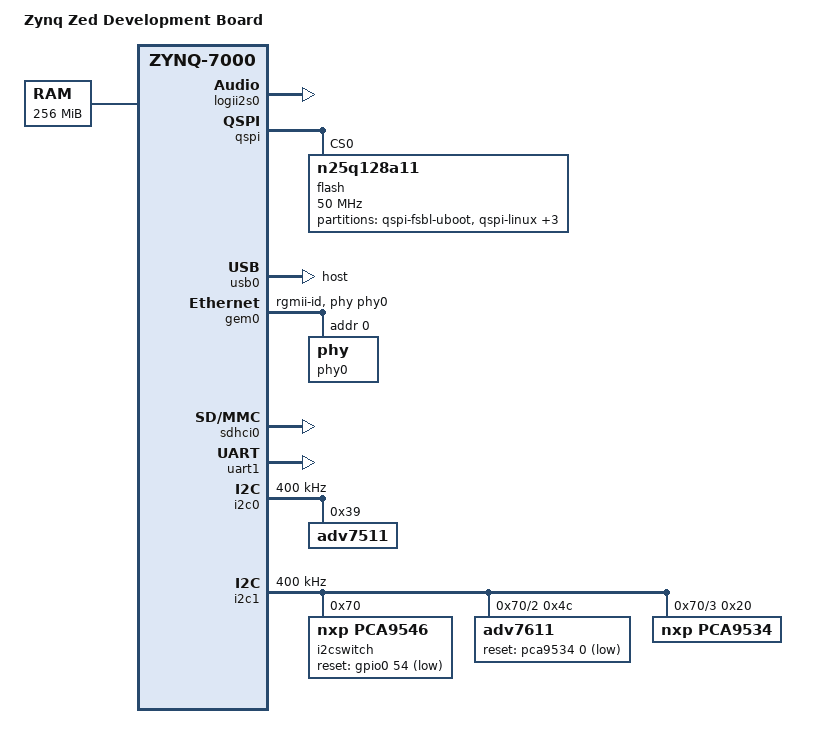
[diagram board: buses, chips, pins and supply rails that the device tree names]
/*
 *  Copyright (C) 2011 - 2014 Xilinx
 *  Copyright (C) 2012 National Instruments Corp.
 *
 * This software is licensed under the terms of the GNU General Public
 * License version 2, as published by the Free Software Foundation, and
 * may be copied, distributed, and modified under those terms.
 *
 * This program is distributed in the hope that it will be useful,
 * but WITHOUT ANY WARRANTY; without even the implied warranty of
 * MERCHANTABILITY or FITNESS FOR A PARTICULAR PURPOSE.  See the
 * GNU General Public License for more details.
 */
/dts-v1/;
/include/ "zynq-7000.dtsi"

/ {
	model = "Zynq Zed Development Board";
	compatible = "xlnx,zynq-zed", "xlnx,zynq-7000";

	aliases {
		ethernet0 = &gem0;
		serial0 = &uart1;
		spi0 = &qspi;
	};

	memory {
		device_type = "memory";
		reg = <0x0 0x10000000>;
	};

	chosen {
		bootargs = "console=ttyPS0,115200 root=/dev/ram rw ip=dhcp earlyprintk";
		linux,stdout-path = "/amba/serial@e0001000";
	};
};

&qspi {
	status = "okay";
	is-dual = <0>;
	num-cs = <1>;
	flash@0 {
		compatible = "n25q128a11";
		reg = <0x0>;
		spi-tx-bus-width = <1>;
		spi-rx-bus-width = <4>;
		spi-max-frequency = <50000000>;
		#address-cells = <1>;
		#size-cells = <1>;
		partition@qspi-fsbl-uboot {
			label = "qspi-fsbl-uboot";
			reg = <0x0 0x100000>;
		};
		partition@qspi-linux {
			label = "qspi-linux";
			reg = <0x100000 0x500000>;
		};
		partition@qspi-device-tree {
			label = "qspi-device-tree";
			reg = <0x600000 0x20000>;
		};
		partition@qspi-rootfs {
			label = "qspi-rootfs";
			reg = <0x620000 0x5E0000>;
		};
		partition@qspi-bitstream {
			label = "qspi-bitstream";
			reg = <0xC00000 0x400000>;
		};
	};
};

&usb0 {
	status = "okay";
	dr_mode = "host";
	phy_type = "ulpi";
};

&gem0 {
	status = "okay";
	phy-mode = "rgmii-id";
	phy-handle = <&phy0>;

	phy0: phy@0 {
		reg = <0>;
	};
};

&sdhci0 {
	status = "okay";
};

&uart1 {
	status = "okay";
};

&i2c0 {
	status = "okay";
	clock-frequency = <400000>;

	adv7511: adv7511@39 {
		compatible = "adv7511";
		reg = <0x39>;
		interrupts = <0 58 4>;
		interrupt-parent = <&intc>;
		dma-request = <&logicvc_0>;
		edid-addr = <0x50>;
		video-input {
			input-id = <1>;
			input-style = <2>;
			input-color-depth = <8>;
			bit-justification = <1>;
			hsync-polarity = <0>;
			vsync-polarity = <0>;
			clock-delay = <3>;
		};
		video-output {
			hdmi-mode = <0>;
			output-format = <0>;
			output-color-space = <0>;
			up-conversion = <0>;
			csc-enable = <1>;
			csc-scaling-factor = <2>;
			csc-coefficients {
				a1 = <0x0B37>;
				a2 = <0x0800>;
				a3 = <0x0000>;
				a4 = <0x1A86>;
				b1 = <0x1A49>;
				b2 = <0x0800>;
				b3 = <0x1D3F>;
				b4 = <0x0422>;
				c1 = <0x0000>;
				c2 = <0x0800>;
				c3 = <0x0E2D>;
				c4 = <0x1914>;
			};
		};
	};
};

&i2c1 {
	status = "okay";
	clock-frequency = <400000>;

	i2cswitch@70 {
		compatible = "nxp,pca9546";
		#address-cells = <1>;
		#size-cells = <0>;
		reg = <0x70>;

		reset-gpios = <&gpio0 54 1>;

		i2c@2 {
			#address-cells = <1>;
			#size-cells = <0>;
			reg = <2>;

			adv7611: hdmi-rx@4c {
				compatible = "adv7611";
				reg = <0x4c>;

				reset-gpios = <&pca9534 0 1>;
			};
		};

		i2c@3 {
			#address-cells = <1>;
			#size-cells = <0>;
			reg = <3>;

			pca9534: gpio@20 {
				compatible = "nxp,pca9534";
				reg = <0x20>;
				gpio-controller;
				#gpio-cells = <2>;
			};
		};
	};
};

/ {
	logiclk_0: clock-generator@40010000 {
		compatible = "xylon,logiclk-1.02.b";
		reg = <0x40010000 0x1000>;
		bandwidth-high;
		input-frequency = <100000000>;
		input-divide = <1>;
		input-multiply = <9>;
		input-phase = <0>;
		precise-output = <&clkout_0>;
		clkout_0: output_0 {
			#clock-cells = <0>;
			frequency = <74250000>;
			divide = <6>;
			duty = <50000>;
			phase = <0>;
		};
		clkout_1: output_1 {
			#clock-cells = <0>;
			frequency = <148500000>;
			divide = <9>;
			duty = <50000>;
			phase = <0>;
		};
		clkout_2: output_2 {
			#clock-cells = <0>;
			frequency = <30000000>;
			divide = <9>;
			duty = <50000>;
			phase = <0>;
		};
		clkout_3: output_3 {
			#clock-cells = <0>;
			frequency = <40000000>;
			divide = <9>;
			duty = <50000>;
			phase = <0>;
		};
		clkout_4: output_4 {
			#clock-cells = <0>;
			frequency = <50000000>;
			divide = <9>;
			duty = <50000>;
			phase = <0>;
		};
		clkout_5: output_5 {
			#clock-cells = <0>;
			frequency = <60000000>;
			divide = <9>;
			duty = <50000>;
			phase = <0>;
		};
	};

	logicvc_0: logicvc@40030000 {
		compatible = "xylon,logicvc-4.00.a";
		reg = <0x40030000 0x6000>;
		interrupt-parent = <&intc>;
		interrupts = <0 57 0>;
		background-layer-bits-per-pixel = <32>;
		background-layer-type = "rgb";
		hsync-active-low;
		vsync-active-low;
		size-position;
		pixel-stride = <2048>;
		layer_0 {
			address = <0x138F4000>;
			buffer-offset = <1080>;
			bits-per-pixel = <32>;
			type = "rgb";
			transparency = "pixel";
		};
		layer_1 {
			address = <0x11FA4000>;
			buffer-offset = <1080>;
			bits-per-pixel = <32>;
			type = "rgb";
			transparency = "layer";
		};
		layer_2 {
			address = <0x10000000>;
			buffer-offset = <1080>;
			bits-per-pixel = <32>;
			type = "rgb";
			transparency = "layer";
		};
		layer_3 {
			address = <0x11950000>;
			buffer-offset = <1080>;
			bits-per-pixel = <8>;
			type = "rgb";
			transparency = "clut32";
		};
	};
	xylon_fb {
		compatible = "xylon,fb-3.00.a";
		clocks = <&clkout_0>;
		device = <&logicvc_0>;
		console-layer = <3>;
		video-mode = "1024x768";
	};

	logiwin_0: logiwin@0x400e0000 {
		compatible = "xylon,logiwin-4.00.a";
		reg = <0x400e0000 0x1000>;
		interrupt-parent = <&intc>;
		interrupts = <0 53 4>;
		input-num = <1>;
		input-format = "itu";
		input-resolution = <1280 720>;
		output-format = "argb8888";
		output-resolution = <2048 768>;
		output-byte-align = <1>;
		scale-fraction-bits = <6>;
	};

	logii2s0: logii2s@40100000 {
		compatible = "xylon,logii2s-2.00.a";
		reg = <0x40100000 0x1000>;
		interrupt-parent = <&intc>;
		interrupts = <0 54 4>;
		core-clock-frequency = <100000000>;
		instance_0 {
			i2s-clock-frequency = <12500000>;
			fifo-size = <512>;
			almost-full-level = <170>;
			almost-empty-level = <85>;
		};
		instance_1 {
			i2s-clock-frequency = <12500000>;
			fifo-size = <512>;
			almost-full-level = <170>;
			almost-empty-level = <85>;
		};
	};
};
